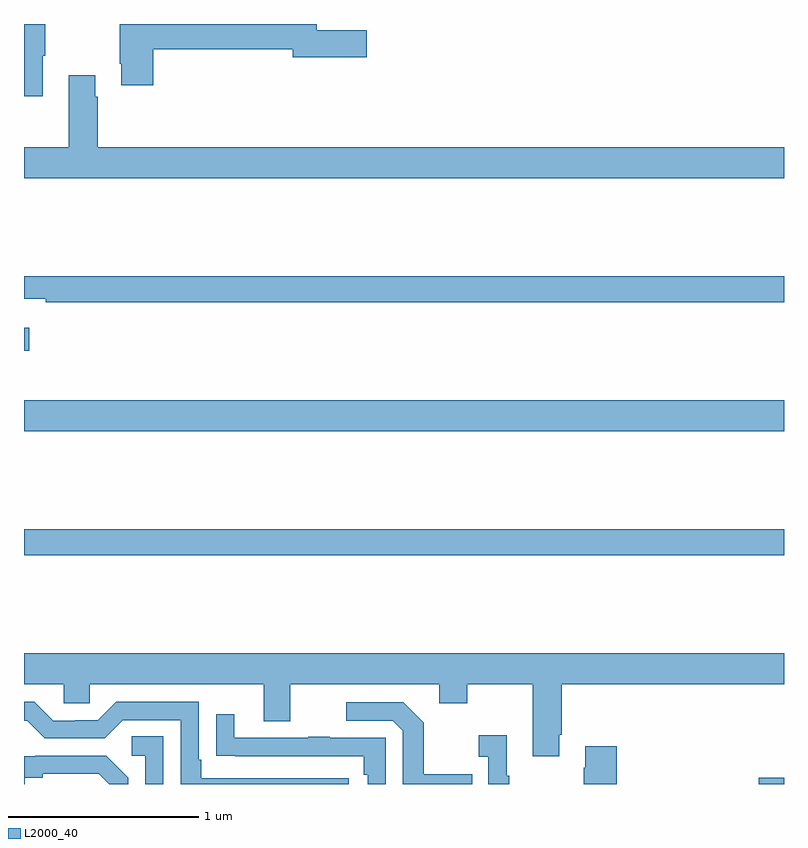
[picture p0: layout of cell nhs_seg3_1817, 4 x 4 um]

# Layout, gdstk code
import gdstk
lib = gdstk.Library(unit=1e-6, precision=1e-09)
def R(c, l, rs):  # rectangles x0, y0, x1, y1
    for r in rs: c.add(gdstk.rectangle(r[:2], r[2:], *l))
def P(c, l, *ps):  # polygons
    for p in ps: c.add(gdstk.Polygon(p, *l))
L2000_40 = (2000, 40)

nhs_seg3_1817 = lib.new_cell('nhs_seg3_1817')
R(nhs_seg3_1817, L2000_40, [(208.866,692.4,209,692.432), (205,693.604,209,693.74), (205,694.256,209,694.42), (205,694.679,205.027,694.801)])
P(nhs_seg3_1817, L2000_40, [(205.099,696.233),(205.111,696.233),(205.111,696.4),(205.002,696.4),(205.002,696.134),(205,696.134),(205,696.021),(205.099,696.021)],
  [(205.679,696.268),(206.414,696.268),(206.414,696.226),(206.803,696.226),(206.803,696.368),(206.542,696.368),(206.542,696.4),(205.504,696.4),(205.504,696.19),(205.511,696.19),(205.511,696.078),(205.679,696.078)],
  [(209,695.752),(205.388,695.752),(205.388,696.017),(205.375,696.017),(205.375,696.13),(205.235,696.13),(205.235,695.752),(205,695.752),(205,695.588),(209,695.588)],
  [(209,695.072),(205,695.072),(205,694.955),(205.114,694.955),(205.114,694.936),(209,694.936)],
  [(207.817,692.659),(207.83,692.659),(207.83,692.924),(209,692.924),(209,693.088),(205,693.088),(205,692.924),(205.209,692.924),(205.209,692.826),(205.347,692.826),(205.347,692.924),(206.261,692.924),(206.261,692.73),(206.401,692.73),(206.401,692.924),(207.185,692.924),(207.185,692.825),(207.333,692.825),(207.333,692.924),(207.677,692.924),(207.677,692.547),(207.817,692.547)],
  [(206.71,692.43),(205.933,692.43),(205.933,692.527),(205.92,692.527),(205.92,692.832),(205.485,692.832),(205.389,692.736),(205.271,692.736),(205.271,692.733),(205.155,692.733),(205.055,692.833),(205,692.833),(205,692.733),(205.017,692.733),(205.11,692.64),(205.425,692.64),(205.521,692.736),(205.824,692.736),(205.824,692.4),(206.71,692.4)],
  [(207.359,692.451),(207.103,692.451),(207.103,692.723),(206.997,692.829),(206.697,692.829),(206.697,692.733),(206.94,692.733),(206.994,692.679),(206.994,692.4),(207.359,692.4)],
  [(206.904,692.643),(206.609,692.643),(206.609,692.648),(206.497,692.648),(206.497,692.643),(206.107,692.643),(206.107,692.767),(206.011,692.767),(206.011,692.548),(206.113,692.548),(206.113,692.547),(206.788,692.547),(206.788,692.45),(206.808,692.45),(206.808,692.4),(206.904,692.4)],
  [(207.553,692.443),(207.541,692.443),(207.541,692.656),(207.393,692.656),(207.393,692.543),(207.444,692.543),(207.444,692.4),(207.553,692.4)],
  [(205.734,692.651),(205.566,692.651),(205.566,692.55),(205.638,692.55),(205.638,692.4),(205.734,692.4)],
  [(208.121,692.599),(207.953,692.599),(207.953,692.486),(207.946,692.486),(207.946,692.4),(208.121,692.4)],
  [(205.003,692.432),(205.099,692.432),(205.099,692.454),(205.394,692.454),(205.448,692.4),(205.548,692.4),(205.548,692.434),(205.432,692.55),(205.06,692.55),(205.06,692.547),(205,692.547),(205,692.4),(205.003,692.4)])

lib.write_gds('nhs_seg3_1817.gds')
